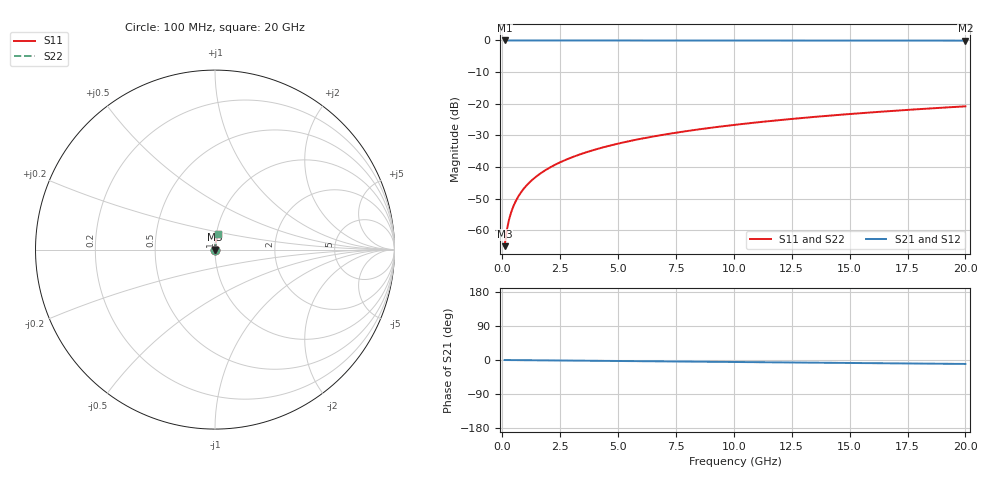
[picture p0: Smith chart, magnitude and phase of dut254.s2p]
! Touchstone file exported from HFSS 2026.1.0
!  File:  C:/ffzhzh/LocalFiles/Ansys_Project_Files/temp_train_TSV_254_1782992930_45328.aedt
!  Generated:  07:50:49 PM Jul  2, 2026
!  Design:  TSV
!  Project:  temp_train_TSV_254_1782992930_45328
! Variables:
!  h_bsmrdl = 2um
!  h_ox = 20um
!  h_rdl = 5um
!  h_sub = 84.79um
!  h_tmrdl = 5um
!  h_tsv = 84.79um
!  h_via = 3um
!  l_bsmrdl = 300um
!  l_sub = 413.14um
!  l_tmrdl = 200um
!  m_sub = 200um
!  pitch = 59.07um
!  r_tsv = 6.57um
!  s_tmrdl = 10um
!  w_bsmrdl = 18um
!  w_sub = 500um
!  w_tmrdl = 12um
!  x_tsv_center1 = 206um
!  x_tsv_center2 = 524um
!  x_tsv_center3 = 736um
!  x_tsv_center4 = 1054um
!  x_tsv_center5 = 1266um
!  x_tsv_center6 = 1584um
# GHz S MA R 50.000000
! Terminal data exported
! Port[1] = TSV1_1_T1
! Port[2] = TSV1_1_T2
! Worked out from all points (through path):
!   200 points, 100 MHz to 20 GHz, reference 50 ohm
!   highest |S21| = 0.00 dB at 100 MHz (marker M1); lowest = -0.1 dB at 20 GHz (marker M2)
!   group delay of S21, straight-line fit = 1.44 ps
!   lowest |S11| = -65.0 dB at 100 MHz (marker M3), VSWR 1.00, Z = 50 + j0.0503 ohm
!   |S11| at or under -10 dB: start of sweep to end of sweep
!   |S22| runs from -65.0 to -20.8 dB; largest |S21 - S12| = 3.4e-15
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0.1  0.0005651 62.9  0.9997 -0.1  0.9997 -0.1  0.0005651 62.9
! Gamma 0 0 0 0
! Port Impedance 50 0 50 0
0.2  0.001039 75.1  0.9997 -0.1  0.9997 -0.1  0.001039 75.1
0.3  0.001529 79.3  0.9997 -0.2  0.9997 -0.2  0.001529 79.3
0.4  0.002021 81.3  0.9997 -0.2  0.9997 -0.2  0.002021 81.3
0.5  0.00251 82.5  0.9997 -0.3  0.9997 -0.3  0.00251 82.5
0.6  0.002995 83.2  0.9997 -0.3  0.9997 -0.3  0.002995 83.2
0.7  0.003478 83.7  0.9996 -0.4  0.9996 -0.4  0.003478 83.7
0.8  0.003957 84.0  0.9996 -0.4  0.9996 -0.4  0.003957 84.0
1  0.004909 84.5  0.9996 -0.5  0.9996 -0.5  0.004909 84.5
1.4  0.006792 85.1  0.9995 -0.8  0.9995 -0.8  0.006792 85.1
1.7  0.008196 85.3  0.9994 -0.9  0.9994 -0.9  0.008196 85.3
2  0.009597 85.5  0.9994 -1.1  0.9994 -1.1  0.009597 85.5
2.7  0.01286 85.6  0.9993 -1.4  0.9993 -1.4  0.01286 85.6
3.5  0.01657 85.6  0.9991 -1.9  0.9991 -1.9  0.01657 85.6
4.2  0.01981 85.4  0.999 -2.2  0.999 -2.2  0.01981 85.4
5  0.0235 85.2  0.9988 -2.6  0.9988 -2.6  0.0235 85.2
6.8  0.03176 84.5  0.9985 -3.6  0.9985 -3.6  0.03176 84.5
8.3  0.03861 83.9  0.9981 -4.4  0.9981 -4.4  0.03861 83.9
10.1  0.0468 83.2  0.9976 -5.3  0.9976 -5.3  0.0468 83.2
13.4  0.06173 81.7  0.9967 -7.0  0.9967 -7.0  0.06173 81.7
16.7  0.07654 80.1  0.9955 -8.7  0.9955 -8.7  0.07654 80.1
20  0.09119 78.5  0.9941 -10.4  0.9941 -10.4  0.09119 78.5
